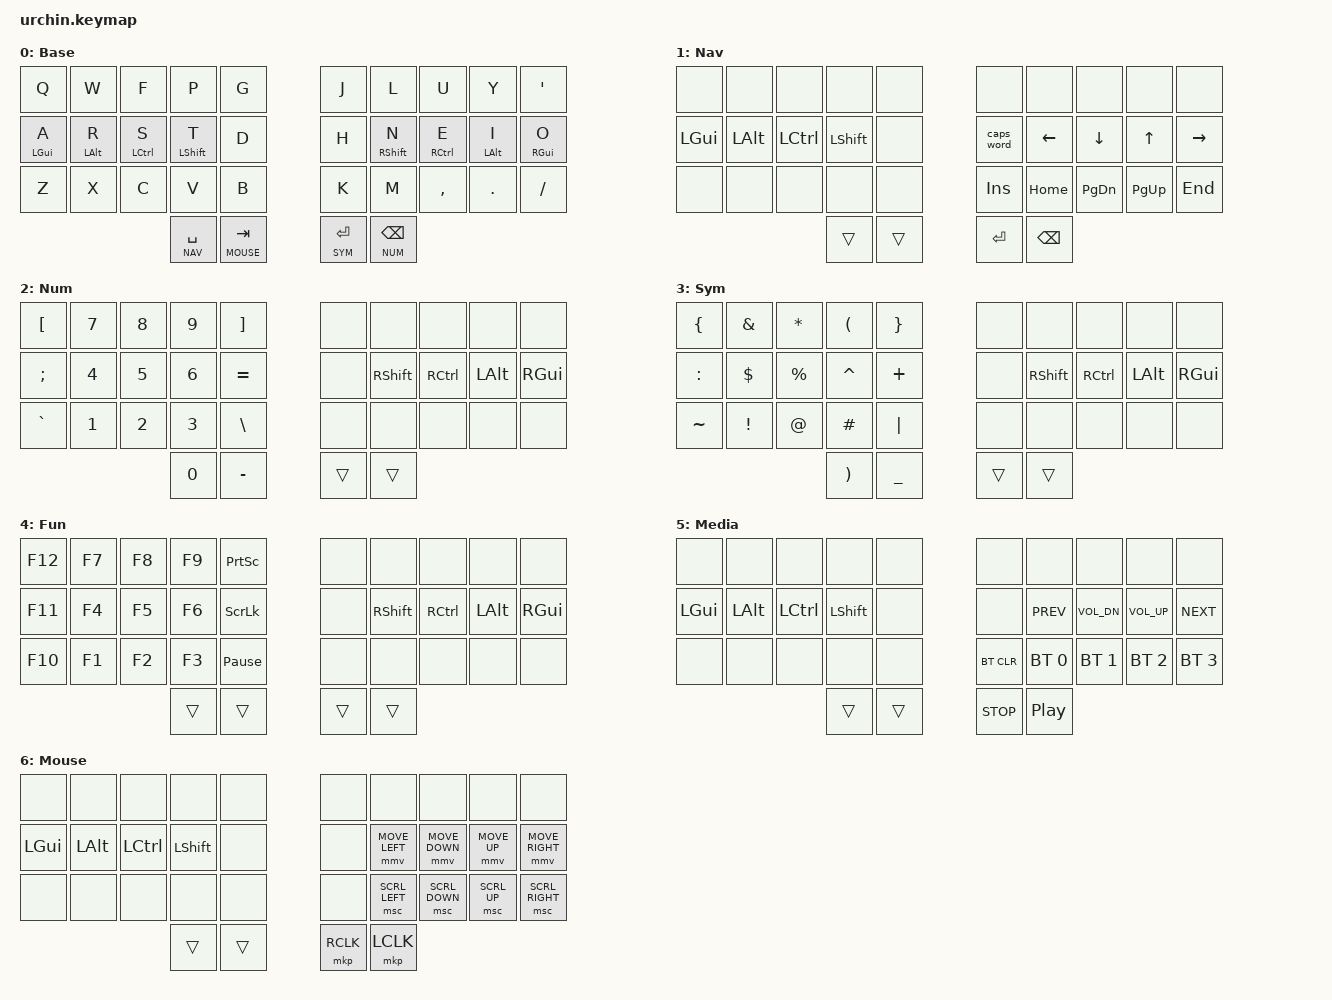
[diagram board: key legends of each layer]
/*
 * Byron's Urchin ZMK Configuration
 *
 * Colemak with home row mods, ported from QMK userspace.
 * Uses urob-style "timeless" home row mods with positional hold-tap.
 *
 * SPDX-License-Identifier: MIT
 */

#include <behaviors.dtsi>
#include <dt-bindings/zmk/keys.h>
#include <dt-bindings/zmk/bt.h>
#include <dt-bindings/zmk/pointing.h>

// Layer numbers
#define BASE  0
#define NAV   1
#define NUM   2
#define SYM   3
#define FUN   4
#define MEDIA 5
#define MOUSE 6

// Key position groups for positional hold-tap
//  0  1  2  3  4       5  6  7  8  9
// 10 11 12 13 14      15 16 17 18 19
// 20 21 22 23 24      25 26 27 28 29
//             30 31   32 33
#define KEYS_L 0 1 2 3 4 10 11 12 13 14 20 21 22 23 24
#define KEYS_R 5 6 7 8 9 15 16 17 18 19 25 26 27 28 29
#define THUMBS 30 31 32 33

/ {
    behaviors {
        // Left-hand home row mods (standard)
        // Used for: T(SFT)
        hml: home_row_mod_left {
            compatible = "zmk,behavior-hold-tap";
            #binding-cells = <2>;
            flavor = "balanced";
            tapping-term-ms = <200>;
            quick-tap-ms = <120>;
            hold-while-undecided;
            hold-trigger-on-release;
            hold-trigger-key-positions = <KEYS_R THUMBS>;
            bindings = <&kp>, <&kp>;
        };

        // Left-hand Alt - hold-while-undecided omitted: speculative Alt triggers Firefox menu bar on Linux
        // Used for: R(LALT)
        hml_alt: home_row_mod_left_alt {
            compatible = "zmk,behavior-hold-tap";
            #binding-cells = <2>;
            flavor = "balanced";
            tapping-term-ms = <200>;
            quick-tap-ms = <120>;
            hold-trigger-on-release;
            hold-trigger-key-positions = <KEYS_R THUMBS>;
            bindings = <&kp>, <&kp>;
        };

        // Left-hand GUI (pinky) - adds require-prior-idle + copy/paste positions
        // Used for: A(GUI)
        hml_gui: home_row_mod_left_gui {
            compatible = "zmk,behavior-hold-tap";
            #binding-cells = <2>;
            flavor = "tap-preferred";
            tapping-term-ms = <200>;
            quick-tap-ms = <120>;
            require-prior-idle-ms = <100>;
            hold-trigger-on-release;
            hold-trigger-key-positions = <KEYS_R THUMBS 21 22 24>;
            bindings = <&kp>, <&kp>;
        };

        // Left-hand Ctrl - adds copy/paste positions
        // Used for: S(CTL)
        hml_ctrl: home_row_mod_left_ctrl {
            compatible = "zmk,behavior-hold-tap";
            #binding-cells = <2>;
            flavor = "balanced";
            tapping-term-ms = <200>;
            quick-tap-ms = <120>;
            hold-while-undecided;
            hold-trigger-on-release;
            hold-trigger-key-positions = <KEYS_R THUMBS 21 22 24>;
            bindings = <&kp>, <&kp>;
        };

        // Right-hand home row mods (standard)
        // Used for: N(SFT)
        hmr: home_row_mod_right {
            compatible = "zmk,behavior-hold-tap";
            #binding-cells = <2>;
            flavor = "balanced";
            tapping-term-ms = <200>;
            quick-tap-ms = <120>;
            hold-while-undecided;
            hold-trigger-on-release;
            hold-trigger-key-positions = <KEYS_L THUMBS>;
            bindings = <&kp>, <&kp>;
        };

        // Right-hand Ctrl - quick-tap disabled (E is often re-tapped for Ctrl chords)
        // Used for: E(CTL)
        hmr_ctrl: home_row_mod_right_ctrl {
            compatible = "zmk,behavior-hold-tap";
            #binding-cells = <2>;
            flavor = "balanced";
            tapping-term-ms = <200>;
            quick-tap-ms = <0>;
            hold-while-undecided;
            hold-trigger-on-release;
            hold-trigger-key-positions = <KEYS_L THUMBS>;
            bindings = <&kp>, <&kp>;
        };

        // Right-hand Alt - adds browser devtools positions (J=5, K=25)
        // hold-while-undecided omitted: speculative Alt triggers Firefox menu bar on Linux
        // Used for: I(LALT)
        hmr_alt: home_row_mod_right_alt {
            compatible = "zmk,behavior-hold-tap";
            #binding-cells = <2>;
            flavor = "balanced";
            tapping-term-ms = <200>;
            quick-tap-ms = <120>;
            hold-trigger-on-release;
            hold-trigger-key-positions = <KEYS_L THUMBS 5 25>;
            bindings = <&kp>, <&kp>;
        };

        // Right-hand GUI (pinky) - adds require-prior-idle + devtools positions
        // Used for: O(GUI)
        hmr_gui: home_row_mod_right_gui {
            compatible = "zmk,behavior-hold-tap";
            #binding-cells = <2>;
            flavor = "tap-preferred";
            tapping-term-ms = <200>;
            quick-tap-ms = <120>;
            require-prior-idle-ms = <100>;
            hold-trigger-on-release;
            hold-trigger-key-positions = <KEYS_L THUMBS 5 25>;
            bindings = <&kp>, <&kp>;
        };

        // Thumb layer-tap (tighter quick-tap for intentional double-taps)
        lt_thumb: layer_tap_thumb {
            compatible = "zmk,behavior-hold-tap";
            #binding-cells = <2>;
            flavor = "balanced";
            tapping-term-ms = <200>;
            quick-tap-ms = <80>;
            hold-while-undecided;
            bindings = <&mo>, <&kp>;
        };
    };

    combos {
        compatible = "zmk,combos";

        // Left thumb combo: Esc (tap) / Media layer (hold)
        combo_media_esc {
            key-positions = <30 31>;
            bindings = <&lt_thumb MEDIA ESC>;
            timeout-ms = <50>;
            layers = <BASE>;
        };

        // Right thumb combo: Del (tap) / Function layer (hold)
        combo_fun_del {
            key-positions = <32 33>;
            bindings = <&lt_thumb FUN DEL>;
            timeout-ms = <50>;
            layers = <BASE>;
        };

        // Left thumb combo on NUM layer: DOT (the outermost left thumb from 36-key)
        combo_num_dot {
            key-positions = <30 31>;
            bindings = <&kp DOT>;
            timeout-ms = <50>;
            layers = <NUM>;
        };

        // Left thumb combo on SYM layer: LPAR (the outermost left thumb from 36-key)
        combo_sym_lpar {
            key-positions = <30 31>;
            bindings = <&kp LPAR>;
            timeout-ms = <50>;
            layers = <SYM>;
        };

        // Right thumb combo on NAV layer: DEL
        combo_nav_del {
            key-positions = <32 33>;
            bindings = <&kp DEL>;
            timeout-ms = <50>;
            layers = <NAV>;
        };

        // Right thumb combo on MOUSE layer: middle click
        combo_mouse_btn3 {
            key-positions = <32 33>;
            bindings = <&mkp MCLK>;
            timeout-ms = <50>;
            layers = <MOUSE>;
        };

        // Right thumb combo on MEDIA layer: mute
        combo_media_mute {
            key-positions = <32 33>;
            bindings = <&kp C_MUTE>;
            timeout-ms = <50>;
            layers = <MEDIA>;
        };

        // Left thumb combo on FUN layer: App/Menu key
        combo_fun_app {
            key-positions = <30 31>;
            bindings = <&kp K_APP>;
            timeout-ms = <50>;
            layers = <FUN>;
        };
    };

    keymap {
        compatible = "zmk,keymap";

        base_layer {
            display-name = "Base";
            bindings = <
                &kp Q            &kp W          &kp F            &kp P           &kp G              &kp J          &kp L           &kp U            &kp Y          &kp SQT
                &hml_gui LGUI A  &hml_alt LALT R &hml_ctrl LCTRL S &hml LSHFT T   &kp D              &kp H          &hmr RSHFT N    &hmr_ctrl RCTRL E &hmr_alt LALT I &hmr_gui RGUI O
                &kp Z            &kp X          &kp C            &kp V           &kp B              &kp K          &kp M           &kp COMMA        &kp DOT        &kp FSLH
                                                &lt_thumb NAV SPACE              &lt_thumb MOUSE TAB                &lt_thumb SYM RET                &lt_thumb NUM BSPC
            >;
        };

        nav_layer {
            display-name = "Nav";
            bindings = <
                &none            &none          &none            &none           &none              &none          &none           &none            &none          &none
                &kp LGUI         &kp LALT       &kp LCTRL        &kp LSHFT       &none              &caps_word     &kp LEFT        &kp DOWN         &kp UP         &kp RIGHT
                &none            &none          &none            &none           &none              &kp INS        &kp HOME        &kp PG_DN        &kp PG_UP      &kp END
                                                &trans                           &trans                             &kp RET                          &kp BSPC
            >;
        };

        num_layer {
            display-name = "Num";
            bindings = <
                &kp LBKT         &kp N7         &kp N8           &kp N9          &kp RBKT           &none          &none           &none            &none          &none
                &kp SEMI         &kp N4         &kp N5           &kp N6          &kp EQUAL          &none          &kp RSHFT       &kp RCTRL        &kp LALT       &kp RGUI
                &kp GRAVE        &kp N1         &kp N2           &kp N3          &kp BSLH           &none          &none           &none            &none          &none
                                                &kp N0                           &kp MINUS                          &trans                           &trans
            >;
        };

        sym_layer {
            display-name = "Sym";
            bindings = <
                &kp LBRC         &kp AMPS       &kp ASTRK         &kp LPAR        &kp RBRC           &none          &none           &none            &none          &none
                &kp COLON        &kp DLLR       &kp PRCNT        &kp CARET       &kp PLUS           &none          &kp RSHFT       &kp RCTRL        &kp LALT       &kp RGUI
                &kp TILDE        &kp EXCL       &kp AT           &kp HASH        &kp PIPE           &none          &none           &none            &none          &none
                                                &kp RPAR                         &kp UNDER                          &trans                           &trans
            >;
        };

        fun_layer {
            display-name = "Fun";
            bindings = <
                &kp F12          &kp F7         &kp F8           &kp F9          &kp PSCRN          &none          &none           &none            &none          &none
                &kp F11          &kp F4         &kp F5           &kp F6          &kp SLCK           &none          &kp RSHFT       &kp RCTRL        &kp LALT       &kp RGUI
                &kp F10          &kp F1         &kp F2           &kp F3          &kp PAUSE_BREAK    &none          &none           &none            &none          &none
                                                &trans                           &trans                             &trans                           &trans
            >;
        };

        media_layer {
            display-name = "Media";
            bindings = <
                &none            &none          &none            &none           &none              &none          &none           &none            &none          &none
                &kp LGUI         &kp LALT       &kp LCTRL        &kp LSHFT       &none              &none          &kp C_PREV      &kp C_VOL_DN     &kp C_VOL_UP   &kp C_NEXT
                &none            &none          &none            &none           &none              &bt BT_CLR     &bt BT_SEL 0    &bt BT_SEL 1     &bt BT_SEL 2   &bt BT_SEL 3
                                                &trans                           &trans                             &kp C_STOP                       &kp C_PP
            >;
        };

        mouse_layer {
            display-name = "Mouse";
            bindings = <
                &none            &none          &none            &none           &none              &none          &none           &none            &none          &none
                &kp LGUI         &kp LALT       &kp LCTRL        &kp LSHFT       &none              &none          &mmv MOVE_LEFT  &mmv MOVE_DOWN   &mmv MOVE_UP   &mmv MOVE_RIGHT
                &none            &none          &none            &none           &none              &none          &msc SCRL_LEFT  &msc SCRL_DOWN   &msc SCRL_UP   &msc SCRL_RIGHT
                                                &trans                           &trans                             &mkp RCLK                        &mkp LCLK
            >;
        };
    };
};
